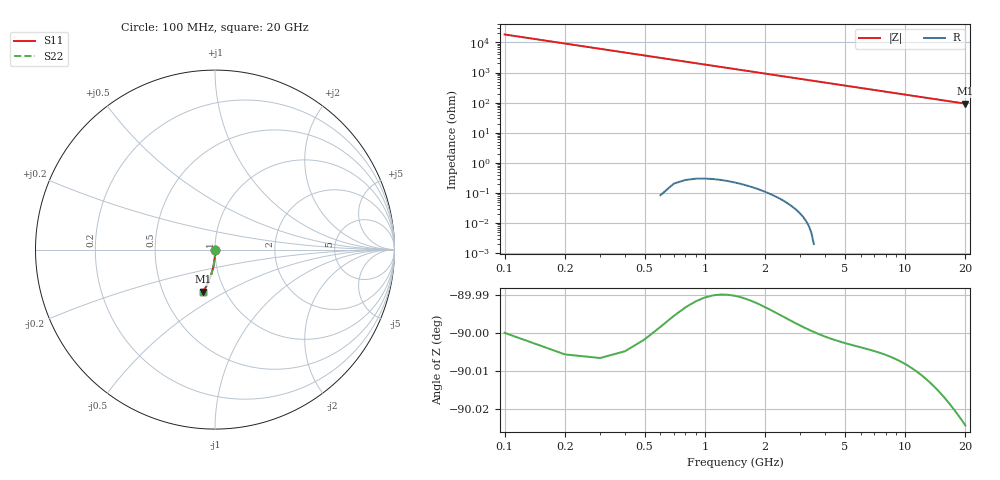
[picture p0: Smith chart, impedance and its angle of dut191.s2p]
! Touchstone file exported from HFSS 2026.1.0
!  File:  C:/ffzhzh/LocalFiles/Ansys_Project_Files/temp_train_TSV_191_1782991528_42984.aedt
!  Generated:  07:26:30 PM Jul  2, 2026
!  Design:  TSV
!  Project:  temp_train_TSV_191_1782991528_42984
! Variables:
!  h_bsmrdl = 2um
!  h_ox = 20um
!  h_rdl = 5um
!  h_sub = 86.4um
!  h_tmrdl = 5um
!  h_tsv = 86.4um
!  h_via = 3um
!  l_bsmrdl = 300um
!  l_sub = 425.52um
!  l_tmrdl = 200um
!  m_sub = 200um
!  pitch = 26.74um
!  r_tsv = 12.76um
!  s_tmrdl = 10um
!  w_bsmrdl = 18um
!  w_sub = 500um
!  w_tmrdl = 12um
!  x_tsv_center1 = 206um
!  x_tsv_center2 = 524um
!  x_tsv_center3 = 736um
!  x_tsv_center4 = 1054um
!  x_tsv_center5 = 1266um
!  x_tsv_center6 = 1584um
# GHz S MA R 50.000000
! Terminal data exported
! Port[1] = TSV1_1_T1
! Port[2] = TSV1_1_T2
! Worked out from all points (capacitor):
!   200 points, 100 MHz to 20 GHz, reference 50 ohm
!   read as one part in shunt: C = 86.4 fF near 200 MHz
!   lowest |Z| = 92.4 ohm at 20 GHz (marker M1)
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0.1  0.001182 -84.2  0.9999 -0.1  0.9999 -0.1  0.001182 -84.2
! Gamma 0 0 0 0
! Port Impedance 50 0 50 0
0.2  0.002366 -86.5  0.9998 -0.2  0.9998 -0.2  0.002366 -86.5
0.3  0.003566 -87.1  0.9998 -0.3  0.9998 -0.3  0.003566 -87.1
0.4  0.004783 -87.4  0.9997 -0.3  0.9997 -0.3  0.004783 -87.4
0.5  0.006013 -87.6  0.9997 -0.4  0.9997 -0.4  0.006013 -87.6
0.7  0.0085 -88.1  0.9996 -0.6  0.9996 -0.6  0.0085 -88.1
0.8  0.009751 -88.3  0.9995 -0.7  0.9995 -0.7  0.009751 -88.3
1  0.01226 -88.7  0.9995 -0.9  0.9995 -0.9  0.01226 -88.7
1.2  0.01477 -89.0  0.9994 -1.0  0.9994 -1.0  0.01477 -89.0
1.4  0.01728 -89.4  0.9993 -1.2  0.9993 -1.2  0.01728 -89.4
1.7  0.02105 -89.8  0.9992 -1.4  0.9992 -1.4  0.02105 -89.8
2  0.02481 -90.2  0.999 -1.7  0.999 -1.7  0.02481 -90.2
2.7  0.03359 -91.0  0.9987 -2.3  0.9987 -2.3  0.03359 -91.0
3.5  0.04362 -91.8  0.9982 -2.9  0.9982 -2.9  0.04362 -91.8
4.2  0.0524 -92.5  0.9977 -3.5  0.9977 -3.5  0.0524 -92.5
5  0.06243 -93.2  0.997 -4.2  0.997 -4.2  0.06243 -93.2
6.8  0.08495 -94.8  0.9951 -5.7  0.9951 -5.7  0.08495 -94.8
8.3  0.1036 -96.1  0.9932 -6.9  0.9932 -6.9  0.1036 -96.1
10.1  0.1259 -97.7  0.9904 -8.4  0.9904 -8.4  0.1259 -97.7
13.4  0.1662 -100.4  0.9842 -11.1  0.9842 -11.1  0.1662 -100.4
16.7  0.2056 -103.1  0.9765 -13.7  0.9765 -13.7  0.2056 -103.1
20  0.2439 -105.7  0.9673 -16.3  0.9673 -16.3  0.2439 -105.7
